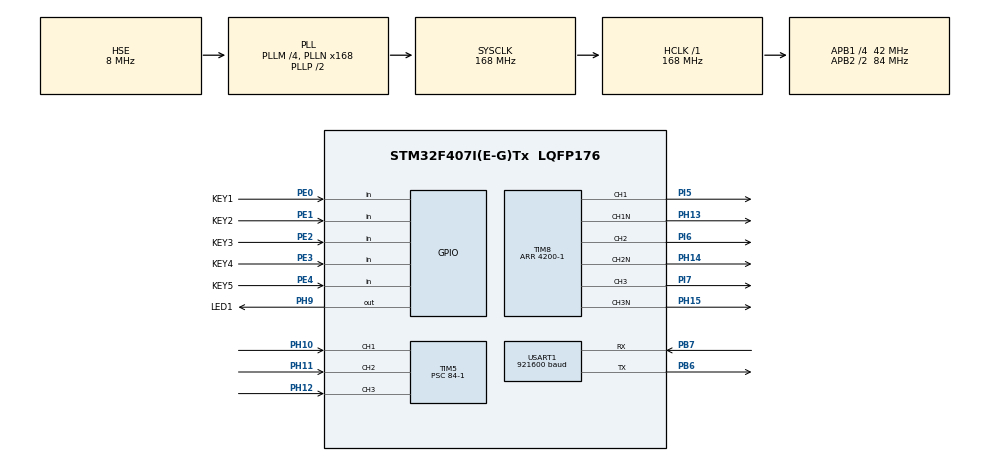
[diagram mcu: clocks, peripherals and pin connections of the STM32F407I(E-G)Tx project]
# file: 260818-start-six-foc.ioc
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Mcu.Family=STM32F4
Mcu.Name=STM32F407I(E-G)Tx
Mcu.Package=LQFP176
NVIC.PriorityGroup=NVIC_PRIORITYGROUP_4
NVIC.TIM5_IRQn=true\:0\:0\:false\:false\:true\:true\:true\:true
PA13.Mode=Serial_Wire
PA13.Signal=SYS_JTMS-SWDIO
PA14.Mode=Serial_Wire
PA14.Signal=SYS_JTCK-SWCLK
PB6.Mode=Asynchronous
PB6.Signal=USART1_TX
PB7.Mode=Asynchronous
PB7.Signal=USART1_RX
PC14-OSC32_IN.Mode=LSE-External-Oscillator
PC14-OSC32_IN.Signal=RCC_OSC32_IN
PC15-OSC32_OUT.Mode=LSE-External-Oscillator
PC15-OSC32_OUT.Signal=RCC_OSC32_OUT
PE0.GPIO_Label=KEY1
PE0.GPIO_PuPd=GPIO_PULLUP
PE0.Signal=GPIO_Input
PE1.GPIO_Label=KEY2
PE1.GPIO_PuPd=GPIO_PULLUP
PE1.Signal=GPIO_Input
PE2.GPIO_Label=KEY3
PE2.GPIO_PuPd=GPIO_PULLUP
PE2.Signal=GPIO_Input
PE3.GPIO_Label=KEY4
PE3.GPIO_PuPd=GPIO_PULLUP
PE3.Signal=GPIO_Input
PE4.GPIO_Label=KEY5
PE4.GPIO_PuPd=GPIO_PULLUP
PE4.Signal=GPIO_Input
PH0-OSC_IN.Mode=HSE-External-Oscillator
PH0-OSC_IN.Signal=RCC_OSC_IN
PH1-OSC_OUT.Mode=HSE-External-Oscillator
PH1-OSC_OUT.Signal=RCC_OSC_OUT
PH10.Signal=S_TIM5_CH1
PH11.Signal=S_TIM5_CH2
PH12.Signal=S_TIM5_CH3
PH13.Mode=PWM Generation1 CH1 CH1N
PH13.Signal=TIM8_CH1N
PH14.Mode=PWM Generation2 CH2 CH2N
PH14.Signal=TIM8_CH2N
PH15.Mode=PWM Generation3 CH3 CH3N
PH15.Signal=TIM8_CH3N
PH9.GPIO_Label=LED1
PH9.Signal=GPIO_Output
PI5.Signal=S_TIM8_CH1
PI6.Signal=S_TIM8_CH2
PI7.Signal=S_TIM8_CH3
ProjectManager.HeapSize=0x200
ProjectManager.StackSize=0x400
ProjectManager.TargetToolchain=MDK-ARM V5.32
RCC.48MHZClocksFreq_Value=84000000
RCC.AHBFreq_Value=168000000
RCC.APB1CLKDivider=RCC_HCLK_DIV4
RCC.APB1Freq_Value=42000000
RCC.APB1TimFreq_Value=84000000
RCC.APB2CLKDivider=RCC_HCLK_DIV2
RCC.APB2Freq_Value=84000000
RCC.APB2TimFreq_Value=168000000
RCC.CortexFreq_Value=168000000
RCC.HCLKFreq_Value=168000000
RCC.HSE_VALUE=8000000
RCC.HSI_VALUE=16000000
RCC.PLLM=4
RCC.PLLN=168
RCC.PLLSourceVirtual=RCC_PLLSOURCE_HSE
RCC.SYSCLKFreq_VALUE=168000000
RCC.SYSCLKSource=RCC_SYSCLKSOURCE_PLLCLK
RCC.VCOOutputFreq_Value=336000000
SH.S_TIM5_CH1.0=TIM5_CH1,Xored_Inputs_Hall_Sensor_Interface
SH.S_TIM5_CH2.0=TIM5_CH2,Xored_Inputs_Hall_Sensor_Interface
SH.S_TIM5_CH3.0=TIM5_CH3,Xored_Inputs_Hall_Sensor_Interface
SH.S_TIM8_CH1.0=TIM8_CH1,PWM Generation1 CH1 CH1N
SH.S_TIM8_CH2.0=TIM8_CH2,PWM Generation2 CH2 CH2N
SH.S_TIM8_CH3.0=TIM8_CH3,PWM Generation3 CH3 CH3N
TIM5.IC1Filter=15
TIM5.Prescaler=84-1
TIM8.Channel-PWM\ Generation1\ CH1\ CH1N=TIM_CHANNEL_1
TIM8.Channel-PWM\ Generation2\ CH2\ CH2N=TIM_CHANNEL_2
TIM8.Channel-PWM\ Generation3\ CH3\ CH3N=TIM_CHANNEL_3
TIM8.CounterMode=TIM_COUNTERMODE_CENTERALIGNED1
TIM8.DeadTime=34
TIM8.OffStateIDLEMode=TIM_OSSI_ENABLE
TIM8.OffStateRunMode=TIM_OSSR_ENABLE
TIM8.Period=4200-1
USART1.BaudRate=921600
USART1.VirtualMode=VM_ASYNC
VP_TIM5_VS_ClockSourceINT.Mode=Internal
board=custom

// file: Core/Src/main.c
/* USER CODE BEGIN Header */
/**
  ******************************************************************************
  * @file           : main.c
  * @brief          : Main program body
  ******************************************************************************
  * @attention
  *
  * Copyright (c) 2026 STMicroelectronics.
  * All rights reserved.
  *
  * This software is licensed under terms that can be found in the LICENSE file
  * in the root directory of this software component.
  * If no LICENSE file comes with this software, it is provided AS-IS.
  *
  ******************************************************************************
  */
/* USER CODE END Header */
#include "main.h"
#include "tim.h"
#include "usart.h"
#include "gpio.h"

/* USER CODE BEGIN Includes */
#include <stdio.h>
/* USER CODE END Includes */

/* USER CODE BEGIN PV */
volatile uint8_t motor_step = 0xFF;
volatile	uint32_t old_time = 0;
volatile uint16_t speed = 0;
volatile uint8_t printf_flag =0;
volatile uint16_t speed_print =0;
volatile uint16_t target_rpm = 3500;
volatile uint16_t pwm_value = 420;
volatile uint8_t motor_run_flag = 1;
/* USER CODE END PV */

void SystemClock_Config(void);
/* USER CODE BEGIN PFP */
static void Motor_SetStep(uint8_t step)
{

  HAL_TIM_PWM_Stop(&htim8, TIM_CHANNEL_1);
  HAL_TIM_PWM_Stop(&htim8, TIM_CHANNEL_2);
  HAL_TIM_PWM_Stop(&htim8, TIM_CHANNEL_3);

  HAL_TIMEx_PWMN_Stop(&htim8, TIM_CHANNEL_1);
  HAL_TIMEx_PWMN_Stop(&htim8, TIM_CHANNEL_2);
  HAL_TIMEx_PWMN_Stop(&htim8, TIM_CHANNEL_3);

  switch (step)
  {
    case 2: //A+ B-
      __HAL_TIM_SET_COMPARE(&htim8, TIM_CHANNEL_1, pwm_value);
      __HAL_TIM_SET_COMPARE(&htim8, TIM_CHANNEL_2, 65535); //直接拉到最满，确保恒定导通
      HAL_TIM_PWM_Start(&htim8, TIM_CHANNEL_1);
      HAL_TIMEx_PWMN_Start(&htim8, TIM_CHANNEL_2);
      break;

    case 6: //B- C+
      __HAL_TIM_SET_COMPARE(&htim8, TIM_CHANNEL_3, pwm_value);
      __HAL_TIM_SET_COMPARE(&htim8, TIM_CHANNEL_2, 65535); //直接拉到最满，确保恒定导通
      HAL_TIM_PWM_Start(&htim8, TIM_CHANNEL_3);
      HAL_TIMEx_PWMN_Start(&htim8, TIM_CHANNEL_2);
      break;

    case 4: //A- C+
      __HAL_TIM_SET_COMPARE(&htim8, TIM_CHANNEL_3, pwm_value);
      __HAL_TIM_SET_COMPARE(&htim8, TIM_CHANNEL_1, 65535); //直接拉到最满，确保恒定导通
      HAL_TIM_PWM_Start(&htim8, TIM_CHANNEL_3);
      HAL_TIMEx_PWMN_Start(&htim8, TIM_CHANNEL_1);
      break;

    case 5: //A- B+
      __HAL_TIM_SET_COMPARE(&htim8, TIM_CHANNEL_2, pwm_value);
      __HAL_TIM_SET_COMPARE(&htim8, TIM_CHANNEL_1, 65535); //直接拉到最满，确保恒定导通
      HAL_TIM_PWM_Start(&htim8, TIM_CHANNEL_2);
      HAL_TIMEx_PWMN_Start(&htim8, TIM_CHANNEL_1);
      break;

    case 1: //C- B+
      __HAL_TIM_SET_COMPARE(&htim8, TIM_CHANNEL_2, pwm_value);
      __HAL_TIM_SET_COMPARE(&htim8, TIM_CHANNEL_3, 65535); //直接拉到最满，确保恒定导通
      HAL_TIM_PWM_Start(&htim8, TIM_CHANNEL_2);
      HAL_TIMEx_PWMN_Start(&htim8, TIM_CHANNEL_3);
      break;

    case 3: //C- a+
      __HAL_TIM_SET_COMPARE(&htim8, TIM_CHANNEL_1, pwm_value);
      __HAL_TIM_SET_COMPARE(&htim8, TIM_CHANNEL_3, 65535); //直接拉到最满，确保恒定导通
      HAL_TIM_PWM_Start(&htim8, TIM_CHANNEL_1);
      HAL_TIMEx_PWMN_Start(&htim8, TIM_CHANNEL_3);
      break;

    default:
            /* 非法状态保持三相关闭 */
      break;
  }
}

static uint8_t HALL_Read(void)
{
    uint8_t hall_state = 0;

    hall_state |= HAL_GPIO_ReadPin(GPIOH, GPIO_PIN_10) << 2;
    hall_state |= HAL_GPIO_ReadPin(GPIOH, GPIO_PIN_11) << 1;
    hall_state |= HAL_GPIO_ReadPin(GPIOH, GPIO_PIN_12);

    return hall_state;
}

static void Motor_Brake(void)
{
  /* 先关闭当前六步换相状态 */
  Motor_SetStep(0);

  /*
   * PWM1模式下CCR=0：
   * CH1/2/3保持低电平，上桥关闭；
   * CH1N/2N/3N保持高电平，下桥导通。
   */
  __HAL_TIM_SET_COMPARE(&htim8, TIM_CHANNEL_1, 0);
  __HAL_TIM_SET_COMPARE(&htim8, TIM_CHANNEL_2, 0);
  __HAL_TIM_SET_COMPARE(&htim8, TIM_CHANNEL_3, 0);

  HAL_TIM_PWM_Start(&htim8, TIM_CHANNEL_1);
  HAL_TIM_PWM_Start(&htim8, TIM_CHANNEL_2);
  HAL_TIM_PWM_Start(&htim8, TIM_CHANNEL_3);

  HAL_TIMEx_PWMN_Start(&htim8, TIM_CHANNEL_1);
  HAL_TIMEx_PWMN_Start(&htim8, TIM_CHANNEL_2);
  HAL_TIMEx_PWMN_Start(&htim8, TIM_CHANNEL_3);
}
/* USER CODE END PFP */

int main(void)
{

  /* MCU Configuration--------------------------------------------------------*/

  /* Reset of all peripherals, Initializes the Flash interface and the Systick. */
  HAL_Init();

  /* Configure the system clock */
  SystemClock_Config();

  /* Initialize all configured peripherals */
  MX_GPIO_Init();
  MX_TIM8_Init();
  MX_USART1_UART_Init();
  MX_TIM5_Init();
  /* USER CODE BEGIN 2 */
	HAL_TIMEx_HallSensor_Start_IT(&htim5);

HAL_GPIO_WritePin(LED1_GPIO_Port, LED1_Pin, GPIO_PIN_RESET);

/*
 * CubeMX的HAL_TIM_PWM_ConfigChannel会开启CCR预装载。
 * 当前模仿502，让CCR修改立即生效。
 */
__HAL_TIM_DISABLE_OCxPRELOAD(&htim8, TIM_CHANNEL_1);
__HAL_TIM_DISABLE_OCxPRELOAD(&htim8, TIM_CHANNEL_2);
__HAL_TIM_DISABLE_OCxPRELOAD(&htim8, TIM_CHANNEL_3);

/* 先配置第一拍：A+、B- */

/*
 * 第一次测试时先注释这一句，只观察六路逻辑波形。
 * 波形正确并接好限流电源后，再取消注释。
 */
HAL_GPIO_WritePin(LED1_GPIO_Port, LED1_Pin, GPIO_PIN_SET);
HAL_Delay(10);  // 你当前缺的就是这个

motor_step = HALL_Read();
Motor_SetStep(motor_step);
//HAL_Delay(100);

//Motor_SetStep(2);
//HAL_Delay(100);

//Motor_SetStep(3);
  /* USER CODE END 2 */

  /* Infinite loop */
  /* USER CODE BEGIN WHILE */
  static uint32_t control_time = 0;
  static int32_t speed_integral = 0;

  while (1)
  {
    static uint8_t Key1_Flag = 0;
    static uint8_t Key2_Flag = 0;
    static uint8_t Key3_Flag = 0;
    static uint8_t Key4_Flag = 0;
    static uint8_t Key5_Flag = 0;

    uint32_t now = HAL_GetTick();
    uint8_t key_state = HAL_GPIO_ReadPin(KEY1_GPIO_Port, KEY1_Pin);
    uint8_t key2_state = HAL_GPIO_ReadPin(KEY2_GPIO_Port, KEY2_Pin);
    uint8_t key3_state = HAL_GPIO_ReadPin(KEY3_GPIO_Port, KEY3_Pin);

    if (((uint32_t)(now - control_time) >= 30U) && (motor_run_flag == 1))
    {
      int32_t speed_error;
      int32_t pwm_output;

      control_time = now;
      speed_error = (int32_t)target_rpm - (int32_t)speed_print;
      speed_integral += speed_error;

      if (speed_integral < 0)
      {
        speed_integral = 0;
      }
      else if (speed_integral > 42000)
      {
        speed_integral = 42000;
      }

      /* PI控制：Kp = 1，Ki = 1/10 */
      pwm_output = speed_error + speed_integral / 10;

      if (pwm_output < 0)
      {
        pwm_output = 0;
      }
      else if (pwm_output > 4200)
      {
        pwm_output = 4200;
      }

      pwm_value = (uint16_t)pwm_output;
    }

    if (printf_flag == 1)
    {
      printf_flag = 0;
      printf("target=%u rpm=%u pwm=%u\r\n",
       target_rpm,
       speed_print,
       pwm_value);
    }

    /* 第一次按下：停止电机 */
    if ((Key1_Flag == 0) && (key_state == 0))
    {
      motor_run_flag = 0;

      HAL_TIMEx_HallSensor_Stop_IT(&htim5);
      Motor_Brake();
      HAL_Delay(20);
      Motor_SetStep(0);
      HAL_GPIO_WritePin(LED1_GPIO_Port, LED1_Pin, GPIO_PIN_RESET);

      speed_integral = 0;
      speed = 0;
      speed_print = 0;
      pwm_value = 0;
      Key1_Flag = 1;
    }
    /* 第一次弹起 */
    else if ((Key1_Flag == 1) && (key_state == 1))
    {
      Key1_Flag = 2;
    }
    /* 第二次按下：启动电机 */
    else if ((Key1_Flag == 2) && (key_state == 0))
    {
      speed_integral = 0;
      speed = 0;
      speed_print = 0;

      /* 给启动第一拍一个确定的占空比 */
      pwm_value = 420;

      /* 防止启动后立刻执行一次PI */
      control_time = HAL_GetTick();

      __HAL_TIM_CLEAR_FLAG(&htim5, TIM_FLAG_CC1);
      HAL_TIMEx_HallSensor_Start_IT(&htim5);

      HAL_GPIO_WritePin(LED1_GPIO_Port, LED1_Pin, GPIO_PIN_SET);
      HAL_Delay(10);

      motor_run_flag = 1;
      motor_step = HALL_Read();
      Motor_SetStep(motor_step);
      Key1_Flag = 3;
    }
    /* 第二次弹起：回到初始状态 */
    else if ((Key1_Flag == 3) && (key_state == 1))
    {
      Key1_Flag = 0;
    }

		/* KEY2：目标转速增加100 RPM */
		if ((Key2_Flag == 0) && (key2_state == 0))
		{
			if (target_rpm < 8000)
			{
				target_rpm += 100;
			}

			Key2_Flag = 1;
		}
		else if ((Key2_Flag == 1) && (key2_state == 1))
		{
			Key2_Flag = 0;
		}

		/* KEY3：目标转速减少100 RPM */
		if ((Key3_Flag == 0) && (key3_state == 0))
		{
			if (target_rpm > 200)
			{
				target_rpm -= 100;
			}

			Key3_Flag = 1;
		}
		else if ((Key3_Flag == 1) && (key3_state == 1))
		{
			Key3_Flag = 0;
		}

//		uint32_t time = __HAL_TIM_GET_COUNTER(&htim5);
//
//		// HAL_GPIO_TogglePin(LED1_GPIO_Port,LED1_Pin);
//		// HAL_Delay(1000);
////    Motor_SetStep(motor_step);

////    motor_step++;

////    if (motor_step > 6)
////    {
////        motor_step = 1;
////    }
//
//		volatile uint8_t i = HALL_Read();

//		if (i != motor_step)
//		{
//				motor_step = i;
//				Motor_SetStep(i);
//				uint32_t timediff = time - old_time;
//				if ((old_time != 0) && (timediff != 0))
//				{
//						speed += 60000000U / (timediff * 24U);
//				}
//				old_time = time;
//				if(i==1)
//				{
//					speed = speed/6;
//					printf("rpm=%u\r\n",(unsigned int)speed);
//					speed = 0;
//
//				}
//		}

//		volatile uint16_t speed = 0;
//		speed =
    /* 每20ms换一拍 */
//    HAL_Delay(1);
    /* USER CODE END WHILE */

  }
}

void SystemClock_Config(void)
{
  RCC_OscInitTypeDef RCC_OscInitStruct = {0};
  RCC_ClkInitTypeDef RCC_ClkInitStruct = {0};

  /** Configure the main internal regulator output voltage
  */
  __HAL_RCC_PWR_CLK_ENABLE();
  __HAL_PWR_VOLTAGESCALING_CONFIG(PWR_REGULATOR_VOLTAGE_SCALE1);

  /** Initializes the RCC Oscillators according to the specified parameters
  * in the RCC_OscInitTypeDef structure.
  */
  RCC_OscInitStruct.OscillatorType = RCC_OSCILLATORTYPE_HSE;
  RCC_OscInitStruct.HSEState = RCC_HSE_ON;
  RCC_OscInitStruct.PLL.PLLState = RCC_PLL_ON;
  RCC_OscInitStruct.PLL.PLLSource = RCC_PLLSOURCE_HSE;
  RCC_OscInitStruct.PLL.PLLM = 4;
  RCC_OscInitStruct.PLL.PLLN = 168;
  RCC_OscInitStruct.PLL.PLLP = RCC_PLLP_DIV2;
  RCC_OscInitStruct.PLL.PLLQ = 4;
  if (HAL_RCC_OscConfig(&RCC_OscInitStruct) != HAL_OK)
  {
    Error_Handler();
  }

  /** Initializes the CPU, AHB and APB buses clocks
  */
  RCC_ClkInitStruct.ClockType = RCC_CLOCKTYPE_HCLK|RCC_CLOCKTYPE_SYSCLK
                              |RCC_CLOCKTYPE_PCLK1|RCC_CLOCKTYPE_PCLK2;
  RCC_ClkInitStruct.SYSCLKSource = RCC_SYSCLKSOURCE_PLLCLK;
  RCC_ClkInitStruct.AHBCLKDivider = RCC_SYSCLK_DIV1;
  RCC_ClkInitStruct.APB1CLKDivider = RCC_HCLK_DIV4;
  RCC_ClkInitStruct.APB2CLKDivider = RCC_HCLK_DIV2;

  if (HAL_RCC_ClockConfig(&RCC_ClkInitStruct, FLASH_LATENCY_5) != HAL_OK)
  {
    Error_Handler();
  }
}

/* USER CODE BEGIN 4 */
void HAL_TIM_IC_CaptureCallback(TIM_HandleTypeDef *htim)
{
    if (htim->Instance == TIM5)
    {
        uint32_t time = HAL_TIM_ReadCapturedValue(htim, TIM_CHANNEL_1);

        if (time != 0)
        {
            speed += 60000000U / (time * 24U);
        }

        motor_step = HALL_Read();
        Motor_SetStep(motor_step);

        if (motor_step == 1)
        {
					printf_flag = 1;

					speed_print = speed;
					speed_print = speed_print / 6;
					speed =0;
//            speed = speed / 6;
//            printf("rpm=%u\r\n", (unsigned int)speed);
//            speed = 0;
        }
    }
}
/* USER CODE END 4 */

void Error_Handler(void)
{
  __disable_irq();
  while (1)
  {
  }
}
